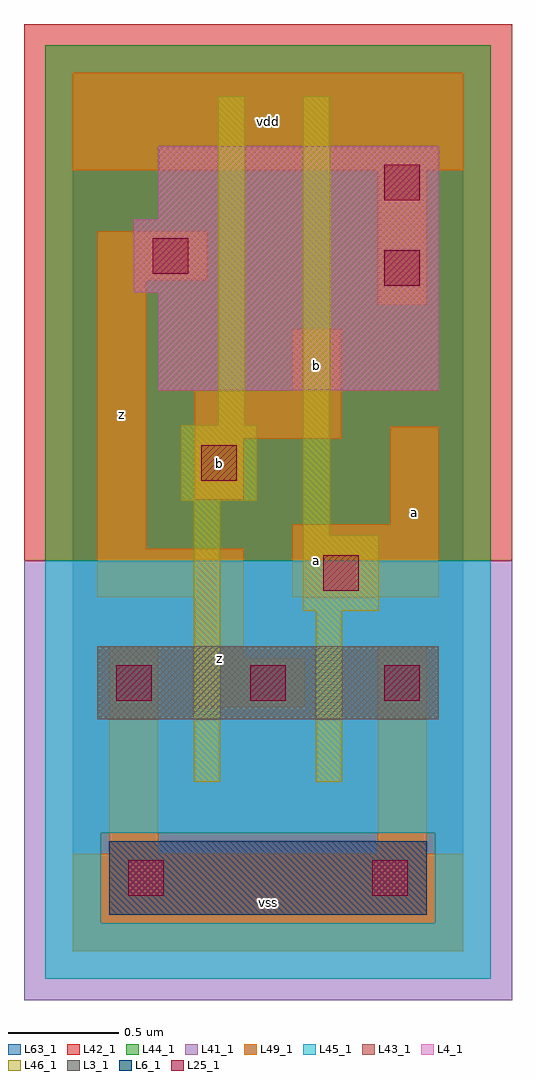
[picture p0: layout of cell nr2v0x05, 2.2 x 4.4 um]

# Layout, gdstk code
import gdstk
lib = gdstk.Library(unit=1e-6, precision=1e-09)
def R(c, l, rs):  # rectangles x0, y0, x1, y1
    for r in rs: c.add(gdstk.rectangle(r[:2], r[2:], *l))
def A(c, l, x, y, w, h, nx, ny, dx, dy):  # array of equal rectangles
    R(c, l, [(x+i*dx, y+j*dy, x+i*dx+w, y+j*dy+h) for i in range(nx) for j in range(ny)])
L3_1 = (3, 1)
L4_1 = (4, 1)
L6_1 = (6, 1)
L25_1 = (25, 1)
L41_1 = (41, 1)
L42_1 = (42, 1)
L43_1 = (43, 1)
L44_1 = (44, 1)
L45_1 = (45, 1)
L46_1 = (46, 1)
L49_1 = (49, 1)
L63_1 = (63, 1)

nr2v0x05 = lib.new_cell('nr2v0x05')
R(nr2v0x05, L3_1, [(0.11,1.045,1.65,1.375)])
R(nr2v0x05, L4_1, [(0.385,2.53,1.65,2.97), (0.275,2.97,1.65,3.3), (0.385,3.3,1.65,3.63)])
R(nr2v0x05, L6_1, [(0.165,0.165,1.595,0.495)])
A(nr2v0x05, L25_1, 0.195, 1.13, 0.16, 0.16, 3, 1, 0.605, 0)
R(nr2v0x05, L25_1, [(0.25,0.25,0.41,0.41), (1.35,0.25,1.51,0.41), (1.13,1.625,1.29,1.785), (0.58,2.12,0.74,2.28), (1.405,3,1.565,3.16), (0.36,3.055,0.52,3.215), (1.405,3.385,1.565,3.545)])
R(nr2v0x05, L41_1, [(-0.22,-0.22,1.98,1.76)])
R(nr2v0x05, L42_1, [(-0.22,1.76,1.98,4.18)])
R(nr2v0x05, L43_1, [(0.165,0.165,1.595,0.495), (0.11,1.045,1.65,1.375), (0.385,2.53,1.65,2.97), (0.275,2.97,1.65,3.3), (0.385,3.3,1.65,3.63)])
R(nr2v0x05, L44_1, [(0.125,0.125,1.635,0.535), (-0.125,1.76,1.885,4.085)])
R(nr2v0x05, L45_1, [(-0.125,-0.125,1.885,0.125), (-0.125,0.125,0.125,0.535), (1.635,0.125,1.885,0.535), (-0.125,0.535,1.885,1.76)])
R(nr2v0x05, L46_1, [(0.545,0.765,0.665,2.03), (1.095,0.765,1.215,1.535), (1.04,1.535,1.38,1.875), (1.04,1.875,1.16,3.855), (0.49,2.03,0.83,2.37), (0.655,2.37,0.775,3.855)])
R(nr2v0x05, L49_1, [(0,0,1.76,0.44), (0.165,0.44,0.385,1.375), (1.375,0.44,1.595,1.375), (0.55,1.1,1.045,1.32), (0.55,1.32,0.77,1.595), (0.11,1.595,0.77,1.815), (0.99,1.595,1.65,1.925), (0.11,1.815,0.33,3.025), (1.43,1.925,1.65,2.365), (0.55,2.035,0.77,2.31), (0.55,2.31,1.21,2.53), (0.99,2.53,1.21,2.805), (1.375,2.915,1.595,3.52), (0.11,3.025,0.605,3.245), (0,3.52,1.76,3.96)])
R(nr2v0x05, L63_1, [(0,0,1.76,3.96)])
nr2v0x05.add(gdstk.Label('z', (0.22,2.42), layer=49, texttype=1))
nr2v0x05.add(gdstk.Label('z', (0.66,1.32), layer=49, texttype=1))
nr2v0x05.add(gdstk.Label('b', (0.66,2.2), layer=49, texttype=1))
nr2v0x05.add(gdstk.Label('vss', (0.88,0.22), layer=49, texttype=1))
nr2v0x05.add(gdstk.Label('a', (1.1,1.76), layer=49, texttype=1))
nr2v0x05.add(gdstk.Label('b', (1.1,2.64), layer=49, texttype=1))
nr2v0x05.add(gdstk.Label('vdd', (0.88,3.74), layer=49, texttype=1))
nr2v0x05.add(gdstk.Label('a', (1.54,1.98), layer=49, texttype=1))

lib.write_gds('nr2v0x05.gds')
